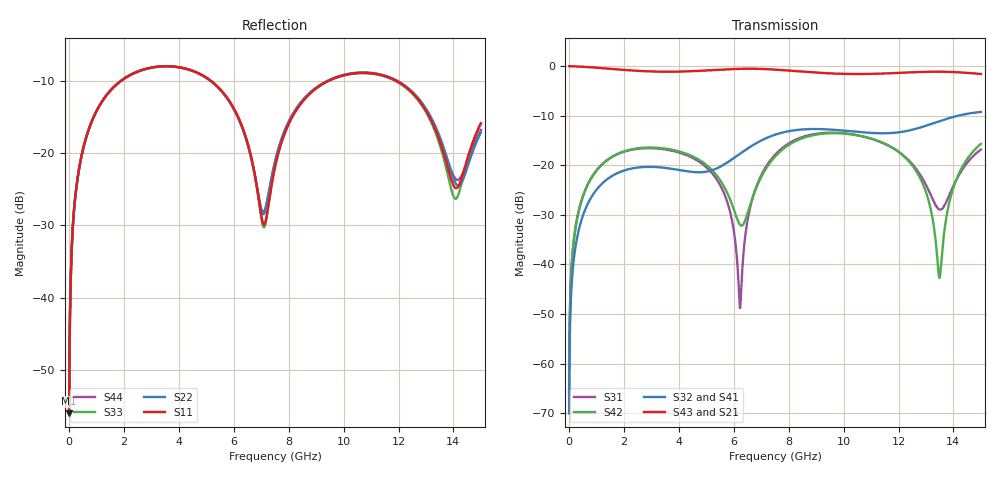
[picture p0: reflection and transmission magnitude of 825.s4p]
! Created with skrf 1.8.0 (http://scikit-rf.org).
# GHz S RI R 50.0
!freq ReS11 ImS11 ReS12 ImS12 ReS13 ImS13
! ReS14 ImS14
! ReS21 ImS21 ReS22 ImS22 ReS23 ImS23
! ReS24 ImS24
! ReS31 ImS31 ReS32 ImS32 ReS33 ImS33
! ReS34 ImS34
! ReS41 ImS41 ReS42 ImS42 ReS43 ImS43
! ReS44 ImS44
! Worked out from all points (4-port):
!   2499 points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, 5 MHz to 15 GHz, reference 50 ohm
!   strongest paths, dB at 5 MHz, 3.476 GHz, 7.19 GHz, 11.1 GHz, 15 GHz:
!     S43: 0.0, -1.1, -0.6, -1.6, -1.6
!     S21: 0.0, -1.1, -0.6, -1.6, -1.6
!     S32: -70.0, -20.5, -14.5, -13.5, -9.2
!     S41: -70.0, -20.5, -14.5, -13.4, -9.3
!     S42: -66.1, -16.6, -20.5, -14.8, -15.7
!     S31: -66.1, -16.8, -20.1, -14.8, -16.8
!   lowest |S11| = -55.9 dB at 5 MHz (marker M1), VSWR 1.00, Z = 50.1 + j0.0971 ohm
!   |S11| at or under -10 dB: start of sweep to 1.908 GHz; 5.157 GHz to 9.469 GHz (4.313 GHz wide, 59 % of centre); 11.91 GHz to end of sweep
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0.005  0.00127 0.000968  0.9987 -0.00248  6.24e-05 0.000493  -6.08e-05 -0.00031
       0.9987 -0.00248  0.00127 0.000968  -6.08e-05 -0.00031  6.25e-05 0.000493
       6.24e-05 0.000493  -6.08e-05 -0.00031  0.00127 0.000969  0.9987 -0.00248
       -6.08e-05 -0.00031  6.25e-05 0.000493  0.9987 -0.00248  0.00127 0.000969
0.3626511  0.0196 0.0743  0.9732 -0.1791  0.00867 0.0343  -0.00734 -0.0215
           0.9732 -0.1791  0.0195 0.0743  -0.00733 -0.0215  0.00891 0.0343
           0.00867 0.0343  -0.00733 -0.0215  0.0196 0.0743  0.9732 -0.1791
           -0.00734 -0.0215  0.00891 0.0343  0.9732 -0.1791  0.0195 0.0743
1.875782  0.2509 0.187  0.592 -0.7055  0.1154 0.0667  -0.0851 -0.013
          0.592 -0.7055  0.2497 0.1877  -0.085 -0.0131  0.1188 0.0625
          0.1154 0.0667  -0.085 -0.0131  0.2509 0.1869  0.5921 -0.7054
          -0.0851 -0.013  0.1188 0.0625  0.5921 -0.7054  0.2496 0.1877
6.227595  0.0846 -0.1427  -0.8408 -0.4165  -0.00341 -0.00126  -0.0533 0.1196
          -0.8408 -0.4165  0.0889 -0.1371  -0.0553 0.1186  -0.0221 -0.0121
          -0.00341 -0.00126  -0.0553 0.1186  0.0833 -0.1427  -0.8408 -0.4166
          -0.0533 0.1196  -0.0221 -0.0121  -0.8408 -0.4166  0.0897 -0.1361
7.034181  0.0313 -0.0144  -0.9336 -0.0708  0.00908 0.0823  -0.00843 0.1793
          -0.9336 -0.0708  0.0372 -0.01  -0.0113 0.1793  -0.00948 0.0789
          0.00908 0.0823  -0.0113 0.1793  0.0299 -0.014  -0.9336 -0.071
          -0.00843 0.1793  -0.00948 0.0789  -0.9336 -0.071  0.0385 -0.00988
13.49312  0.0803 -0.0921  0.7853 0.3923  -0.035 -0.00727  0.1124 -0.255
          0.7853 0.3923  0.0849 -0.0995  0.1218 -0.2506  -0.00731 0.000366
          -0.035 -0.00727  0.1218 -0.2506  0.0718 -0.0904  0.7859 0.3927
          0.1124 -0.255  -0.00731 0.000366  0.7859 0.3927  0.0885 -0.0924
15  0.1178 0.1077  0.8116 -0.1919  0.0668 0.1276  -0.1163 -0.3244
    0.8116 -0.1919  0.107 0.0883  -0.105 -0.3285  0.1232 0.1085
    0.0668 0.1276  -0.105 -0.3285  0.1115 0.1157  0.8114 -0.1908
    -0.1163 -0.3244  0.1232 0.1085  0.8114 -0.1908  0.1138 0.0889
